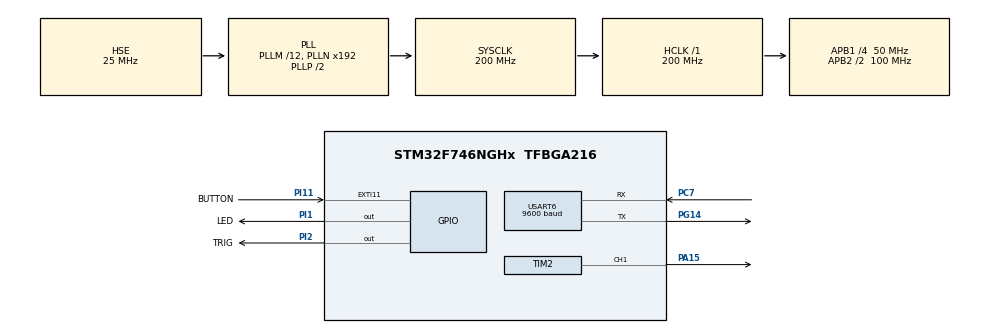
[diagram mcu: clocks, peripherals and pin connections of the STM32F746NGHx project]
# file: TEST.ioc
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Mcu.Family=STM32F7
Mcu.Name=STM32F746NGHx
Mcu.Package=TFBGA216
NVIC.EXTI15_10_IRQn=true\:0\:0\:false\:false\:true\:true\:true
NVIC.PriorityGroup=NVIC_PRIORITYGROUP_4
NVIC.USART6_IRQn=true\:0\:0\:false\:false\:true\:true\:true
PA15.Signal=S_TIM2_CH1_ETR
PC14/OSC32_IN.Mode=LSE-External-Oscillator
PC14/OSC32_IN.Signal=RCC_OSC32_IN
PC15/OSC32_OUT.Mode=LSE-External-Oscillator
PC15/OSC32_OUT.Signal=RCC_OSC32_OUT
PC7.Mode=Asynchronous
PC7.Signal=USART6_RX
PG14.Mode=Asynchronous
PG14.Signal=USART6_TX
PH0/OSC_IN.Mode=HSE-External-Oscillator
PH0/OSC_IN.Signal=RCC_OSC_IN
PH1/OSC_OUT.Mode=HSE-External-Oscillator
PH1/OSC_OUT.Signal=RCC_OSC_OUT
PI1.GPIO_Label=LED
PI1.Signal=GPIO_Output
PI11.GPIO_Label=BUTTON
PI11.Signal=GPXTI11
PI2.GPIO_Label=TRIG
PI2.Signal=GPIO_Output
ProjectManager.HeapSize=0x200
ProjectManager.StackSize=0x400
ProjectManager.TargetToolchain=SW4STM32
RCC.AHBFreq_Value=200000000
RCC.APB1CLKDivider=RCC_HCLK_DIV4
RCC.APB1Freq_Value=50000000
RCC.APB1TimFreq_Value=100000000
RCC.APB2CLKDivider=RCC_HCLK_DIV2
RCC.APB2Freq_Value=100000000
RCC.APB2TimFreq_Value=200000000
RCC.CortexFreq_Value=200000000
RCC.HCLKFreq_Value=200000000
RCC.HSE_VALUE=25000000
RCC.HSI_VALUE=16000000
RCC.PLLM=12
RCC.PLLSourceVirtual=RCC_PLLSOURCE_HSE
RCC.SYSCLKFreq_VALUE=200000000
RCC.SYSCLKSource=RCC_SYSCLKSOURCE_PLLCLK
RCC.USBFreq_Value=200000000
RCC.VCOOutputFreq_Value=400000000
SH.S_TIM2_CH1_ETR.0=TIM2_CH1,PWM Generation1 CH1
TIM2.AutoReloadPreload=TIM_AUTORELOAD_PRELOAD_ENABLE
TIM2.Channel-PWM\ Generation1\ CH1=TIM_CHANNEL_1
TIM2.Period=239
TIM2.Prescaler=1730
USART6.BaudRate=9600
USART6.VirtualMode-Asynchronous=VM_ASYNC
board=STM32F746G-DISCO

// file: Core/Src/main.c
/* USER CODE BEGIN Header */
/**
  ******************************************************************************
  * @file           : main.c
  * @brief          : Main program body
  ******************************************************************************
  * @attention
  *
  * <h2><center>&copy; Copyright (c) 2021 STMicroelectronics.
  * All rights reserved.</center></h2>
  *
  * This software component is licensed by ST under BSD 3-Clause license,
  * the "License"; You may not use this file except in compliance with the
  * License. You may obtain a copy of the License at:
  *                        opensource.org/licenses/BSD-3-Clause
  *
  ******************************************************************************
  */
/* USER CODE END Header */
#include "main.h"

/* USER CODE BEGIN Includes */
#include "morse.h"
/* USER CODE END Includes */

/* USER CODE BEGIN PM */
#define Off 0		//0% power
#define Low 1		//25% power
#define Medium 2	//50% power
#define High 3		//75% power
#define Turbo 5		//100% power
#define MORSE 4
/* USER CODE END PM */

TIM_HandleTypeDef htim2;

UART_HandleTypeDef huart6;

/* USER CODE BEGIN PV */
uint16_t usMODE = MORSE; 		//Determines the brightness level
uint16_t uclastMode = Off; 	//Determines the brightness level
uint16_t usLastTime = 350;
int8_t iPulse = 1; 			//Determines the brightness level

//UART VARIABLES
uint8_t ucCharBuffer = 0;
uint8_t ucCharBuf[128];
uint16_t usSize = 0;
uint16_t usDataAvailable = 0;
/* USER CODE END PV */

void SystemClock_Config(void);
static void MX_GPIO_Init(void);
static void MX_USART6_UART_Init(void);
static void MX_TIM2_Init(void);

int main(void)
{

  /* MCU Configuration--------------------------------------------------------*/

  /* Reset of all peripherals, Initializes the Flash interface and the Systick. */
  HAL_Init();

  /* Configure the system clock */
  SystemClock_Config();

  /* Initialize all configured peripherals */
  MX_GPIO_Init();
  MX_USART6_UART_Init();
  MX_TIM2_Init();
  /* USER CODE BEGIN 2 */
  HAL_UART_Receive_IT( &huart6, &ucCharBuffer, 1);
  HAL_TIM_PWM_Start_IT(&htim2, TIM_CHANNEL_1);
  TIM2->CCR1 = 0;
  /* USER CODE END 2 */

  /* Infinite loop */
  while (1)
  {

    /* USER CODE BEGIN 3 */
	  if(uclastMode != usMODE)
	  {
		  if( ( ( HAL_GetTick() - usLastTime ) < 300 )  && iPulse > 0)
		  {
			  usMODE = Turbo;
			  iPulse = -1;
		  }
		  else
		  {
			  if(uclastMode == MORSE)
			  {
				  for(uint8_t x = 120; x > 0; x--)
				  {
					  TIM2->CCR1 = x;
					  HAL_Delay(8);
				  }
			  }
		  }

		  usLastTime = HAL_GetTick();
		  uclastMode = usMODE;
		  iPulse++;
		  TIM2->CCR1 = 0;
	  }

	  if( usMODE == Off )
	  {
		  TIM2->CCR1 = 0; 							//Set Duty Cycle to 0%
	  }
	  if( usMODE == Low )
	  {
		  TIM2->CCR1 = 60; 							//Set Duty Cycle to 25%
	  }
	  if( usMODE == Medium )
	  {
		  TIM2->CCR1 = 120; 							//Set Duty Cycle to 50%
	  }
	  if( usMODE == High )
	  {
		  TIM2->CCR1 = 180; 							//Set Duty Cycle to 75%
	  }
	  if(usMODE == MORSE)
	  {
		  if( usDataAvailable == 1 )
		  {

			  vMorseConvert( ucCharBuf, usSize );
			  vMorseClearBuf( ucCharBuf, &usSize );
			  usDataAvailable = 0;
		  }
	  }
	  if( ( usMODE == Turbo ) && ( iPulse == 0 ) )
	  {
		  TIM2->CCR1 = 240; 							//Set Duty Cycle to 100%
	  }
	  if( ( usMODE == Turbo ) && (iPulse != 0 ) )
	  {
		  usMODE = Off;
		  iPulse = 0;
	  }
	  if( usMODE > Turbo )
	  {
		  usMODE = Off;
		  iPulse = 0;
	  }
  }
  /* USER CODE END 3 */
}

void SystemClock_Config(void)
{
  RCC_OscInitTypeDef RCC_OscInitStruct = {0};
  RCC_ClkInitTypeDef RCC_ClkInitStruct = {0};
  RCC_PeriphCLKInitTypeDef PeriphClkInitStruct = {0};

  /** Configure LSE Drive Capability
  */
  HAL_PWR_EnableBkUpAccess();
  /** Configure the main internal regulator output voltage
  */
  __HAL_RCC_PWR_CLK_ENABLE();
  __HAL_PWR_VOLTAGESCALING_CONFIG(PWR_REGULATOR_VOLTAGE_SCALE1);
  /** Initializes the RCC Oscillators according to the specified parameters
  * in the RCC_OscInitTypeDef structure.
  */
  RCC_OscInitStruct.OscillatorType = RCC_OSCILLATORTYPE_HSE;
  RCC_OscInitStruct.HSEState = RCC_HSE_ON;
  RCC_OscInitStruct.PLL.PLLState = RCC_PLL_ON;
  RCC_OscInitStruct.PLL.PLLSource = RCC_PLLSOURCE_HSE;
  RCC_OscInitStruct.PLL.PLLM = 12;
  RCC_OscInitStruct.PLL.PLLN = 192;
  RCC_OscInitStruct.PLL.PLLP = RCC_PLLP_DIV2;
  RCC_OscInitStruct.PLL.PLLQ = 2;
  if (HAL_RCC_OscConfig(&RCC_OscInitStruct) != HAL_OK)
  {
    Error_Handler();
  }
  /** Activate the Over-Drive mode
  */
  if (HAL_PWREx_EnableOverDrive() != HAL_OK)
  {
    Error_Handler();
  }
  /** Initializes the CPU, AHB and APB buses clocks
  */
  RCC_ClkInitStruct.ClockType = RCC_CLOCKTYPE_HCLK|RCC_CLOCKTYPE_SYSCLK
                              |RCC_CLOCKTYPE_PCLK1|RCC_CLOCKTYPE_PCLK2;
  RCC_ClkInitStruct.SYSCLKSource = RCC_SYSCLKSOURCE_PLLCLK;
  RCC_ClkInitStruct.AHBCLKDivider = RCC_SYSCLK_DIV1;
  RCC_ClkInitStruct.APB1CLKDivider = RCC_HCLK_DIV4;
  RCC_ClkInitStruct.APB2CLKDivider = RCC_HCLK_DIV2;

  if (HAL_RCC_ClockConfig(&RCC_ClkInitStruct, FLASH_LATENCY_6) != HAL_OK)
  {
    Error_Handler();
  }
  PeriphClkInitStruct.PeriphClockSelection = RCC_PERIPHCLK_USART6;
  PeriphClkInitStruct.Usart6ClockSelection = RCC_USART6CLKSOURCE_PCLK2;
  if (HAL_RCCEx_PeriphCLKConfig(&PeriphClkInitStruct) != HAL_OK)
  {
    Error_Handler();
  }
}

static void MX_TIM2_Init(void)
{

  TIM_MasterConfigTypeDef sMasterConfig = {0};
  TIM_OC_InitTypeDef sConfigOC = {0};

  htim2.Instance = TIM2;
  htim2.Init.Prescaler = 1730;
  htim2.Init.CounterMode = TIM_COUNTERMODE_UP;
  htim2.Init.Period = 239;
  htim2.Init.ClockDivision = TIM_CLOCKDIVISION_DIV1;
  htim2.Init.AutoReloadPreload = TIM_AUTORELOAD_PRELOAD_ENABLE;
  if (HAL_TIM_PWM_Init(&htim2) != HAL_OK)
  {
    Error_Handler();
  }
  sMasterConfig.MasterOutputTrigger = TIM_TRGO_RESET;
  sMasterConfig.MasterSlaveMode = TIM_MASTERSLAVEMODE_DISABLE;
  if (HAL_TIMEx_MasterConfigSynchronization(&htim2, &sMasterConfig) != HAL_OK)
  {
    Error_Handler();
  }
  sConfigOC.OCMode = TIM_OCMODE_PWM1;
  sConfigOC.Pulse = 0;
  sConfigOC.OCPolarity = TIM_OCPOLARITY_HIGH;
  sConfigOC.OCFastMode = TIM_OCFAST_DISABLE;
  if (HAL_TIM_PWM_ConfigChannel(&htim2, &sConfigOC, TIM_CHANNEL_1) != HAL_OK)
  {
    Error_Handler();
  }
  HAL_TIM_MspPostInit(&htim2);

}

static void MX_USART6_UART_Init(void)
{

  huart6.Instance = USART6;
  huart6.Init.BaudRate = 9600;
  huart6.Init.WordLength = UART_WORDLENGTH_8B;
  huart6.Init.StopBits = UART_STOPBITS_1;
  huart6.Init.Parity = UART_PARITY_NONE;
  huart6.Init.Mode = UART_MODE_TX_RX;
  huart6.Init.HwFlowCtl = UART_HWCONTROL_NONE;
  huart6.Init.OverSampling = UART_OVERSAMPLING_16;
  huart6.Init.OneBitSampling = UART_ONE_BIT_SAMPLE_DISABLE;
  huart6.AdvancedInit.AdvFeatureInit = UART_ADVFEATURE_NO_INIT;
  if (HAL_UART_Init(&huart6) != HAL_OK)
  {
    Error_Handler();
  }

}

static void MX_GPIO_Init(void)
{
  GPIO_InitTypeDef GPIO_InitStruct = {0};

  /* GPIO Ports Clock Enable */
  __HAL_RCC_GPIOG_CLK_ENABLE();
  __HAL_RCC_GPIOA_CLK_ENABLE();
  __HAL_RCC_GPIOI_CLK_ENABLE();
  __HAL_RCC_GPIOC_CLK_ENABLE();
  __HAL_RCC_GPIOH_CLK_ENABLE();

  /*Configure GPIO pin Output Level */
  HAL_GPIO_WritePin(GPIOI, TRIG_Pin|LED_Pin, GPIO_PIN_RESET);

  /*Configure GPIO pins : TRIG_Pin LED_Pin */
  GPIO_InitStruct.Pin = TRIG_Pin|LED_Pin;
  GPIO_InitStruct.Mode = GPIO_MODE_OUTPUT_PP;
  GPIO_InitStruct.Pull = GPIO_NOPULL;
  GPIO_InitStruct.Speed = GPIO_SPEED_FREQ_LOW;
  HAL_GPIO_Init(GPIOI, &GPIO_InitStruct);

  /*Configure GPIO pin : BUTTON_Pin */
  GPIO_InitStruct.Pin = BUTTON_Pin;
  GPIO_InitStruct.Mode = GPIO_MODE_IT_RISING;
  GPIO_InitStruct.Pull = GPIO_NOPULL;
  HAL_GPIO_Init(BUTTON_GPIO_Port, &GPIO_InitStruct);

  /* EXTI interrupt init*/
  HAL_NVIC_SetPriority(EXTI15_10_IRQn, 0, 0);
  HAL_NVIC_EnableIRQ(EXTI15_10_IRQn);

}

/* USER CODE BEGIN 4 */
void HAL_GPIO_EXTI_Callback(uint16_t GPIO_Pin)
{
	if(GPIO_Pin == BUTTON_Pin)
	{
		usMODE++;
	}
}

void HAL_UART_RxCpltCallback( UART_HandleTypeDef *huart )
{

	HAL_UART_Receive_IT( &huart6, &ucCharBuffer, 1 );
	if( ucCharBuffer == '\n' )
	{
		usDataAvailable = 1;
	}
	else
	{
		ucCharBuf[usSize] = ucCharBuffer;
		usSize++;
	}
}

/* USER CODE END 4 */

void Error_Handler(void)
{
}

/************************ (C) COPYRIGHT STMicroelectronics *****END OF FILE****/
